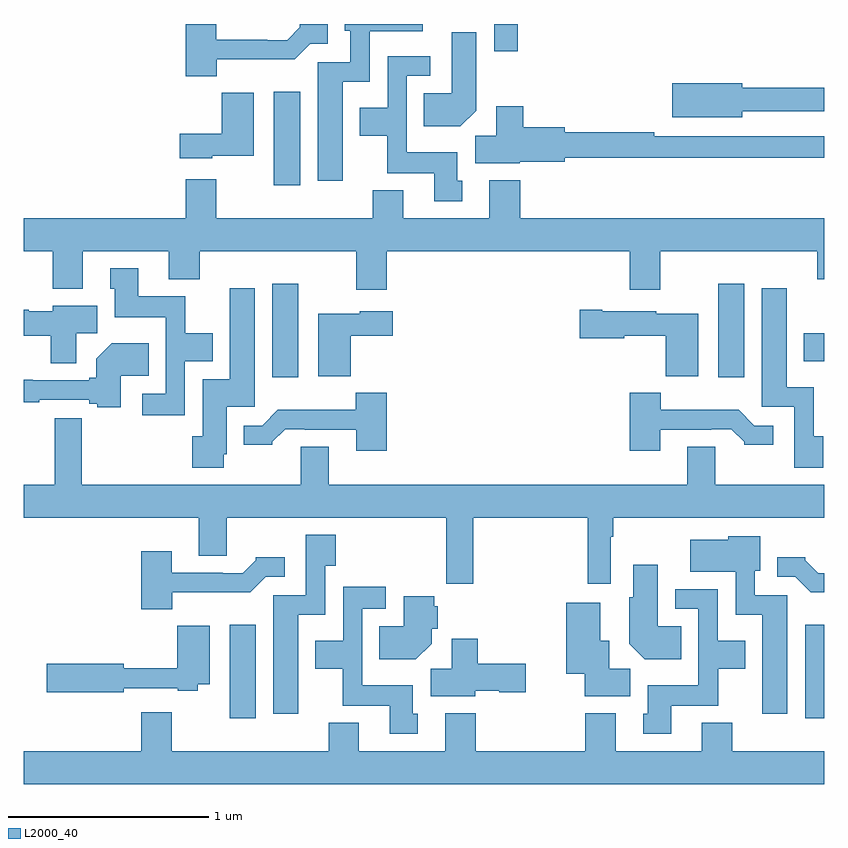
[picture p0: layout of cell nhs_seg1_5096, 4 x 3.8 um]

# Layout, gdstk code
import gdstk
lib = gdstk.Library(unit=1e-6, precision=1e-09)
def R(c, l, rs):  # rectangles x0, y0, x1, y1
    for r in rs: c.add(gdstk.rectangle(r[:2], r[2:], *l))
def P(c, l, *ps):  # polygons
    for p in ps: c.add(gdstk.Polygon(p, *l))
L2000_40 = (2000, 40)

nhs_seg1_5096 = lib.new_cell('nhs_seg1_5096')
R(nhs_seg1_5096, L2000_40, [(388.028,550.728,388.159,551.197), (390.905,550.728,391,551.197), (388.241,552.432,388.372,552.901), (390.47,552.432,390.601,552.901), (390.899,552.512,391,552.652), (388.25,553.392,388.381,553.861), (389.352,554.064,389.468,554.199)])
P(nhs_seg1_5096, L2000_40, [(388.594,553.91),(388.728,553.91),(388.728,554.162),(388.993,554.162),(388.993,554.199),(388.604,554.199),(388.604,554.166),(388.632,554.166),(388.632,554.007),(388.469,554.007),(388.469,553.416),(388.594,553.416)],
  [(387.964,554.022),(388.353,554.022),(388.431,554.1),(388.519,554.1),(388.519,554.197),(388.38,554.197),(388.38,554.182),(388.316,554.118),(388.217,554.118),(388.217,554.121),(387.961,554.121),(387.961,554.199),(387.809,554.199),(387.809,553.937),(387.964,553.937)],
  [(389.26,553.766),(389.26,554.158),(389.138,554.158),(389.138,553.852),(388.999,553.852),(388.999,553.688),(389.182,553.688)],
  [(389.191,553.416),(389.167,553.416),(389.167,553.558),(388.914,553.558),(388.914,553.941),(389.032,553.941),(389.032,554.037),(388.818,554.037),(388.818,553.78),(388.679,553.78),(388.679,553.64),(388.816,553.64),(388.816,553.454),(389.051,553.454),(389.051,553.314),(389.191,553.314)],
  [(390.592,553.764),(391,553.764),(391,553.88),(390.592,553.88),(390.592,553.904),(390.24,553.904),(390.24,553.733),(390.592,553.733)],
  [(387.942,553.541),(388.15,553.541),(388.15,553.855),(387.988,553.855),(387.988,553.651),(387.78,553.651),(387.78,553.529),(387.942,553.529)],
  [(389.478,553.511),(389.704,553.511),(389.704,553.53),(391,553.53),(391,553.638),(390.152,553.638),(390.152,553.658),(389.704,553.658),(389.704,553.682),(389.495,553.682),(389.495,553.789),(389.36,553.789),(389.36,553.64),(389.255,553.64),(389.255,553.502),(389.478,553.502)],
  [(388.814,553.064),(390.029,553.064),(390.029,552.87),(390.181,552.87),(390.181,553.064),(390.965,553.064),(390.965,552.923),(391,552.923),(391,553.228),(389.48,553.228),(389.48,553.417),(389.327,553.417),(389.327,553.228),(388.897,553.228),(388.897,553.369),(388.745,553.369),(388.745,553.228),(387.961,553.228),(387.961,553.423),(387.809,553.423),(387.809,553.228),(387,553.228),(387,553.064),(387.143,553.064),(387.143,552.875),(387.295,552.875),(387.295,553.064),(387.725,553.064),(387.725,552.923),(387.878,552.923),(387.878,553.064),(388.661,553.064),(388.661,552.87),(388.814,552.87)],
  [(387.804,552.512),(387.943,552.512),(387.943,552.652),(387.807,552.652),(387.807,552.838),(387.571,552.838),(387.571,552.979),(387.431,552.979),(387.431,552.876),(387.455,552.876),(387.455,552.734),(387.708,552.734),(387.708,552.351),(387.591,552.351),(387.591,552.243),(387.804,552.243)],
  [(390.996,552.138),(390.948,552.138),(390.948,552.382),(390.814,552.382),(390.814,552.877),(390.689,552.877),(390.689,552.285),(390.852,552.285),(390.852,551.982),(390.996,551.982)],
  [(387.999,552.048),(388.015,552.048),(388.015,552.285),(388.153,552.285),(388.153,552.877),(388.028,552.877),(388.028,552.424),(387.893,552.424),(387.893,552.138),(387.842,552.138),(387.842,551.982),(387.999,551.982)],
  [(387.262,552.652),(387.367,552.652),(387.367,552.79),(387.144,552.79),(387.144,552.763),(387.024,552.763),(387.024,552.771),(387,552.771),(387,552.641),(387.133,552.641),(387.133,552.504),(387.262,552.504)],
  [(390.37,552.751),(390.162,552.751),(390.162,552.763),(389.89,552.763),(389.89,552.771),(389.778,552.771),(389.778,552.629),(390,552.629),(390,552.641),(390.208,552.641),(390.208,552.437),(390.37,552.437)],
  [(388.634,552.641),(388.843,552.641),(388.843,552.763),(388.68,552.763),(388.68,552.751),(388.472,552.751),(388.472,552.437),(388.634,552.437)],
  [(387.484,552.44),(387.623,552.44),(387.623,552.604),(387.44,552.604),(387.362,552.526),(387.362,552.43),(387.327,552.43),(387.327,552.417),(387.044,552.417),(387.044,552.42),(387,552.42),(387,552.309),(387.077,552.309),(387.077,552.321),(387.327,552.321),(387.327,552.301),(387.366,552.301),(387.366,552.283),(387.484,552.283)],
  [(388.814,552.355),(388.659,552.355),(388.659,552.271),(388.27,552.271),(388.191,552.192),(388.1,552.192),(388.1,552.095),(388.242,552.095),(388.242,552.11),(388.306,552.174),(388.405,552.174),(388.405,552.171),(388.661,552.171),(388.661,552.066),(388.814,552.066)],
  [(390.181,552.171),(390.437,552.171),(390.437,552.174),(390.536,552.174),(390.6,552.11),(390.6,552.095),(390.745,552.095),(390.745,552.192),(390.651,552.192),(390.573,552.271),(390.184,552.271),(390.184,552.355),(390.029,552.355),(390.029,552.066),(390.181,552.066)],
  [(389.246,551.732),(389.818,551.732),(389.818,551.4),(389.934,551.4),(389.934,551.636),(389.947,551.636),(389.947,551.732),(391,551.732),(391,551.896),(390.457,551.896),(390.457,552.086),(390.317,552.086),(390.317,551.896),(388.525,551.896),(388.525,552.086),(388.385,552.086),(388.385,551.896),(387.29,551.896),(387.29,552.229),(387.154,552.229),(387.154,551.896),(387,551.896),(387,551.732),(387.875,551.732),(387.875,551.542),(388.015,551.542),(388.015,551.732),(389.11,551.732),(389.11,551.4),(389.246,551.4)],
  [(388.372,551.246),(388.506,551.246),(388.506,551.491),(388.559,551.491),(388.559,551.647),(388.41,551.647),(388.41,551.343),(388.247,551.343),(388.247,550.752),(388.372,550.752)],
  [(390.817,551.343),(390.654,551.343),(390.654,551.466),(390.682,551.466),(390.682,551.638),(390.522,551.638),(390.522,551.62),(390.33,551.62),(390.33,551.462),(390.558,551.462),(390.558,551.246),(390.692,551.246),(390.692,550.752),(390.817,550.752)],
  [(387.742,551.358),(388.131,551.358),(388.209,551.436),(388.303,551.436),(388.303,551.533),(388.158,551.533),(388.158,551.518),(388.094,551.454),(387.995,551.454),(387.995,551.457),(387.739,551.457),(387.739,551.563),(387.587,551.563),(387.587,551.273),(387.742,551.273)],
  [(391,551.454),(390.97,551.454),(390.906,551.518),(390.906,551.533),(390.767,551.533),(390.767,551.436),(390.855,551.436),(390.934,551.358),(391,551.358)],
  [(390.287,551.188),(390.169,551.188),(390.169,551.497),(390.047,551.497),(390.047,551.334),(390.026,551.334),(390.026,551.102),(390.104,551.024),(390.287,551.024)],
  [(388.969,550.752),(388.945,550.752),(388.945,550.894),(388.692,550.894),(388.692,551.277),(388.81,551.277),(388.81,551.386),(388.596,551.386),(388.596,551.116),(388.457,551.116),(388.457,550.976),(388.594,550.976),(388.594,550.79),(388.829,550.79),(388.829,550.65),(388.969,550.65)],
  [(390.235,550.79),(390.471,550.79),(390.471,550.976),(390.607,550.976),(390.607,551.116),(390.468,551.116),(390.468,551.373),(390.255,551.373),(390.255,551.277),(390.372,551.277),(390.372,550.894),(390.119,550.894),(390.119,550.752),(390.095,550.752),(390.095,550.65),(390.235,550.65)],
  [(389.038,551.102),(389.038,551.175),(389.069,551.175),(389.069,551.289),(389.051,551.289),(389.051,551.338),(388.898,551.338),(388.898,551.188),(388.777,551.188),(388.777,551.024),(388.96,551.024)],
  [(390.031,550.976),(389.926,550.976),(389.926,551.116),(389.881,551.116),(389.881,551.305),(389.711,551.305),(389.711,550.952),(389.804,550.952),(389.804,550.838),(390.031,550.838)],
  [(387.498,550.878),(387.77,550.878),(387.77,550.866),(387.87,550.866),(387.87,550.898),(387.928,550.898),(387.928,551.191),(387.766,551.191),(387.766,550.979),(387.498,550.979),(387.498,551),(387.114,551),(387.114,550.858),(387.498,550.858)],
  [(389.256,550.865),(389.376,550.865),(389.376,550.858),(389.509,550.858),(389.509,551),(389.268,551),(389.268,551.125),(389.138,551.125),(389.138,550.976),(389.033,550.976),(389.033,550.838),(389.256,550.838)],
  [(391,550.564),(390.542,550.564),(390.542,550.705),(390.389,550.705),(390.389,550.564),(389.959,550.564),(389.959,550.753),(389.807,550.753),(389.807,550.564),(389.258,550.564),(389.258,550.753),(389.105,550.753),(389.105,550.564),(388.675,550.564),(388.675,550.705),(388.523,550.705),(388.523,550.564),(387.739,550.564),(387.739,550.759),(387.587,550.759),(387.587,550.564),(387,550.564),(387,550.4),(391,550.4)])

lib.write_gds('nhs_seg1_5096.gds')
